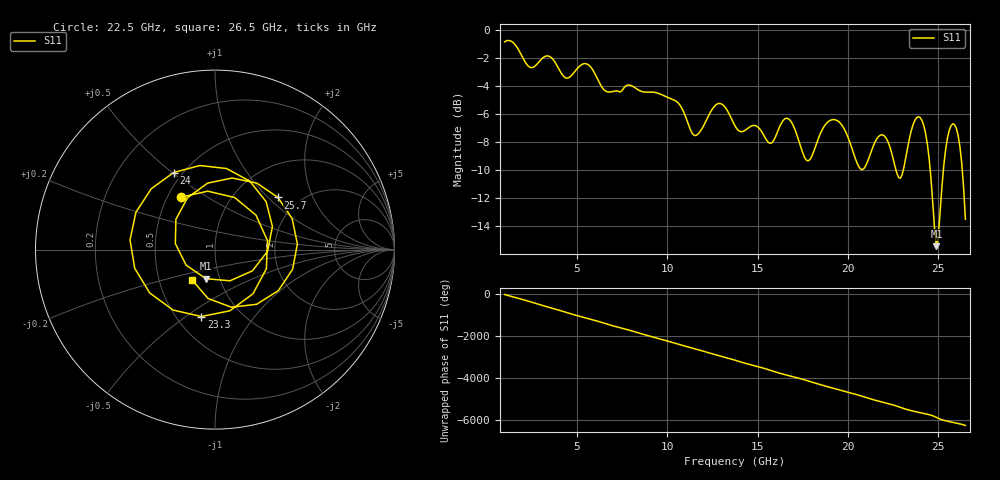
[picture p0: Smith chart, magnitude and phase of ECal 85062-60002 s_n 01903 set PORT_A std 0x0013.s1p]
!Created with skrf (http://scikit-rf.org).
# Hz S RI R 50.0
!freq ReS11 ImS11
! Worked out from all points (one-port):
!   256 points, 1 GHz to 26.5 GHz, reference 50 ohm
!   lowest |S11| = -15.4 dB at 24.9 GHz (marker M1), VSWR 1.41, Z = 43 - j14.4 ohm
!   |S11| at or under -10 dB: 22.67 GHz to 23.06 GHz (391.6 MHz wide, 1.71 % of centre); 24.55 GHz to 25.28 GHz (727 MHz wide, 2.92 % of centre); 26.33 GHz to end of sweep
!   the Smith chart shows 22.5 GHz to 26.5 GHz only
!   S11 on the Smith chart (normalised r, x): 22.5 GHz: 0.59, +0.39; 23.3 GHz: 0.66, -0.58; 24 GHz: 0.45, +0.51; 25.7 GHz: 1.57, +1.15; 26.5 GHz: 0.73, -0.26
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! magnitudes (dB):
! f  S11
! 1 GHz  -0.8
! 4.2 GHz  -3.2
! 5.5 GHz  -2.4
! 6.5 GHz  -4.3
! 7.4 GHz  -4.4
! 10.6 GHz  -5.2
! 11.5 GHz  -7.5
! 12.8 GHz  -5.2
! 13.8 GHz  -6.9
! 15.7 GHz  -8.1
! 16.5 GHz  -6.3
! 17 GHz  -6.9
! 17.8 GHz  -9.3
! 19.1 GHz  -6.4
! 20.2 GHz  -8.4
! 20.8 GHz  -9.9
! 21.9 GHz  -7.5
! 22.5 GHz  -9.2
! 22.9 GHz  -10.6
! 23.3 GHz  -8.4
! 23.4 GHz  -7.7
! 24 GHz  -6.2
! 24.4 GHz  -8.2
! 24.9 GHz  -15.4
! 25.4 GHz  -8.6
! 25.7 GHz  -6.8
! 26.2 GHz  -8.3
! 26.5 GHz  -13.5
